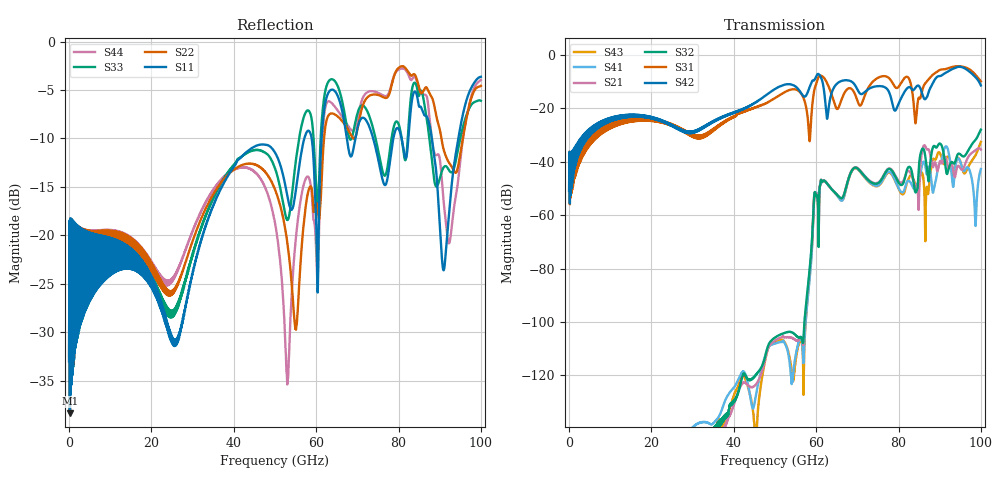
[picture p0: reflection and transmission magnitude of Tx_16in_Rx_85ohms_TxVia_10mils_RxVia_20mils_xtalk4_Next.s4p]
! Info: Touchstone file created by Circ.  Input file=Tx_16in_Rx_85ohms_TxVia_10mils_RxVia_20mils.circ
# Hz S RI R 50
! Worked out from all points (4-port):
!   10000 points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, 10 MHz to 100 GHz, reference 50 ohm
!   strongest paths, dB at 10 MHz, 25.01 GHz, 50.01 GHz, 75.01 GHz, 100 GHz:
!     S42: -50.9, -26.5, -12.8, -11.7, -11.5
!     S31: -51.0, -26.4, -16.2, -8.6, -9.9
!     S32: -, -156.7, -105.9, -48.0, -28.0
!     S21: -, -168.6, -107.0, -47.8, -35.5
!     S41: -154.7, -152.7, -108.1, -48.9, -42.7
!     S43: -155.5, -157.2, -107.5, -49.1, -32.6
!   lowest |S11| = -38.4 dB at 200 MHz (marker M1), VSWR 1.02, Z = 49.2 - j0.85 ohm
!   |S11| at or under -10 dB: start of sweep to 57.13 GHz; 73.85 GHz to 78.74 GHz (4.888 GHz wide, 6.41 % of centre); 88.09 GHz to 94.52 GHz (6.436 GHz wide, 7.05 % of centre)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
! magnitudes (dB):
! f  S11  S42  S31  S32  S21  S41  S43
! 10 MHz  -33.0  -50.9  -51.0  -  -  -154.7  -155.5
! 200 MHz  -38.4  -48.7  -48.7  -  -  -  -
! 43.51 GHz  -11.3  -19.3  -20.6  -121.7  -123.8  -123.9  -124.8
! 53.02 GHz  -15.9  -11.0  -13.4  -103.8  -105.7  -110.7  -110.2
! 57.96 GHz  -9.2  -14.0  -23.8  -87.3  -88.3  -91.1  -90.4
! 61.54 GHz  -8.7  -10.1  -8.1  -47.4  -47.4  -47.4  -47.5
! 100 GHz  -3.6  -11.5  -9.9  -28.0  -35.5  -42.7  -32.6
